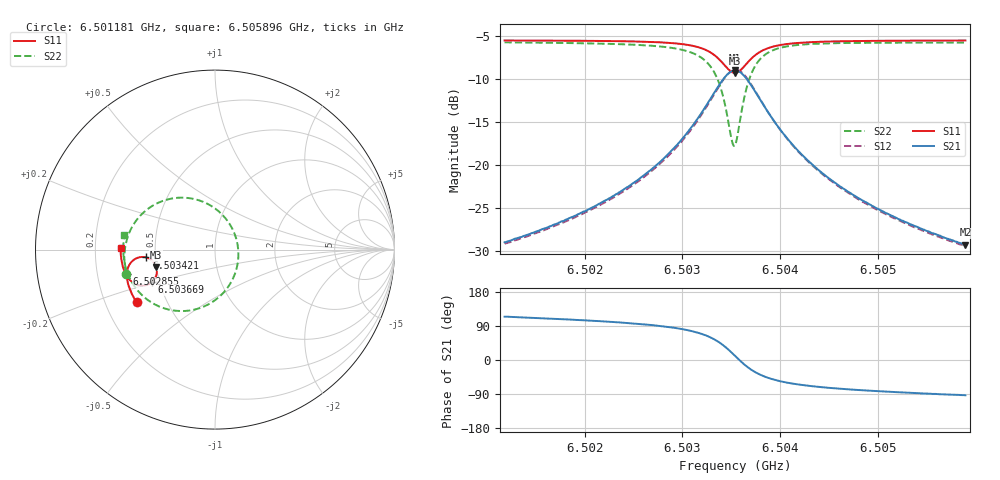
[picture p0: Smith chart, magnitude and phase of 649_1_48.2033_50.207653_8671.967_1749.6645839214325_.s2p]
#  HZ  S  RI  R  50.00
! Rohde & Schwarz Vector Network Analyzer
! Rohde-Schwarz,ZNB20-2Port,1311601062101988,3.16
! Created: UTC 3/20/2024, 12:05:08 PM
! freq[Hz]  re:S11  im:S11  re:S21  im:S21  re:S12  im:S12  re:S22  im:S22
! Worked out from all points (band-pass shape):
!   401 points, 6.501181 GHz to 6.505896 GHz, reference 50 ohm
!   highest |S21| = -9.04 dB at 6.503539 GHz (marker M1); lowest = -29.2 dB at 6.505896 GHz (marker M2)
!   |S21| within 3 dB of the highest: 6.503303 GHz to 6.503775 GHz (471.7 kHz wide, 0.00725 % of centre)
!   lowest |S11| = -9.3 dB at 6.503539 GHz (marker M3), VSWR 2.04, Z = 25 - j5.53 ohm
!   |S11| at or under -10 dB: nowhere
!   |S22| runs from -17.8 to -5.8 dB; largest |S21 - S12| = 0.013
!   S11 on the Smith chart (normalised r, x): 6.501181 GHz: 0.34, -0.27; 6.502855 GHz: 0.33, -0.12; 6.503421 GHz: 0.45, -0.05; 6.503669 GHz: 0.46, -0.19; 6.505896 GHz: 0.31, +0.01
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6.5011814e9  -0.4373 -0.2933  -0.0147 0.0326  -0.0128 0.0325  -0.4954 -0.1347
6.5019712e9  -0.4696 -0.2327  -0.0138 0.0513  -0.0111 0.0508  -0.505 -0.047
6.5024073e9  -0.4839 -0.1925  -0.0104 0.0719  -0.00713 0.0706  -0.4997 0.0187
6.5027609e9  -0.4912 -0.1513  -0.000414 0.1031  0.0035 0.1004  -0.4771 0.0951
6.5028552e9  -0.4913 -0.1378  0.00536 0.1155  0.00954 0.1125  -0.4644 0.1219
6.5030556e9  -0.4856 -0.1033  0.0305 0.1523  0.0345 0.1474  -0.4124 0.1929
6.5031971e9  -0.4689 -0.0727  0.0722 0.1874  0.0753 0.1811  -0.3321 0.2532
6.5033267e9  -0.4312 -0.0458  0.1524 0.2136  0.1535 0.207  -0.1862 0.2896
6.503421e9  -0.3826 -0.0437  0.2473 0.196  0.2478 0.1908  -0.0217 0.2439
6.5035035e9  -0.3382 -0.0747  0.3284 0.118  0.3315 0.1132  0.1084 0.0901
6.5035389e9  -0.327 -0.0979  0.3466 0.0672  0.3508 0.061  0.1299 -0.00568
6.5035625e9  -0.3239 -0.1151  0.3501 0.0313  0.3547 0.0235  0.1272 -0.0721
6.5035978e9  -0.3262 -0.1402  0.3423 -0.0211  0.3462 -0.0311  0.0984 -0.1651
6.5036685e9  -0.3495 -0.1791  0.2932 -0.1004  0.2932 -0.1134  -0.017 -0.2938
6.5037628e9  -0.392 -0.1997  0.2114 -0.1452  0.2062 -0.1566  -0.1837 -0.3426
6.5038336e9  -0.4192 -0.1998  0.1619 -0.1505  0.1546 -0.1594  -0.2766 -0.3291
6.5039161e9  -0.4431 -0.1923  0.1199 -0.1441  0.1119 -0.1502  -0.3507 -0.2965
6.5040811e9  -0.4731 -0.1711  0.0699 -0.1222  0.0629 -0.1249  -0.4315 -0.2269
6.5043286e9  -0.4958 -0.1398  0.0358 -0.0941  0.0304 -0.0949  -0.481 -0.147
6.5047058e9  -0.5122 -0.099  0.0151 -0.068  0.0113 -0.0676  -0.5052 -0.066
6.5051184e9  -0.521 -0.0598  0.0056 -0.0514  0.00304 -0.0507  -0.5112 -0.00442
6.5058963e9  -0.5264 0.00704  -0.00195 -0.0346  -0.0034 -0.0337  -0.5048 0.0817
